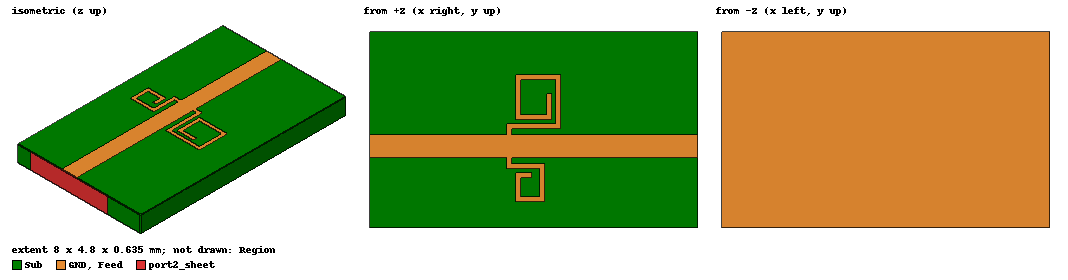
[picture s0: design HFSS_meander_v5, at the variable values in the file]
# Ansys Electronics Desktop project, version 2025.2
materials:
  vacuum: permittivity=1
  RO3010_like: permittivity=10.2 dielectric_loss_tangent=0.0022
  copper: permeability=0.999991 conductivity=58000000

design HFSS_meander_v5 (HFSS, HFSS Hybrid Modal Network, model units mm)
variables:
  Cvar1 = 0.92pF
  Cvar2 = 0.46pF
  Cp1 = 0.18pF
  Cp2 = 0.05pF
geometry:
  Sub [RO3010_like] = box(corner=(-4mm, -2mm, 0mm), size=(8mm, 4.8mm, 0.635mm))
  GND = rectangle(corner=(-4mm, -2mm, 0mm), x_size=8mm, y_size=4.8mm)
  Feed = rectangle(corner=(-4mm, -0.29mm, 0.635mm), x_size=8mm, y_size=0.58mm)
  S1_s0 = rectangle(corner=(-0.66mm, -0.06mm, 0.635mm), x_size=0.12mm, y_size=0.61mm)
  S1_s1 = rectangle(corner=(-0.66mm, 0.43mm, 0.635mm), x_size=1.32mm, y_size=0.12mm)
  S1_s2 = rectangle(corner=(0.54mm, 0.43mm, 0.635mm), x_size=0.12mm, y_size=1.32mm)
  S1_s3 = rectangle(corner=(-0.44mm, 1.63mm, 0.635mm), x_size=1.1mm, y_size=0.12mm)
  S1_s4 = rectangle(corner=(-0.44mm, 0.65mm, 0.635mm), x_size=0.12mm, y_size=1.1mm)
  S1_s5 = rectangle(corner=(-0.44mm, 0.65mm, 0.635mm), x_size=0.88mm, y_size=0.12mm)
  S1_s6 = rectangle(corner=(0.32mm, 0.65mm, 0.635mm), x_size=0.12mm, y_size=0.64mm)
  S2_s0 = rectangle(corner=(-0.66mm, -0.55mm, 0.635mm), x_size=0.12mm, y_size=0.61mm)
  S2_s1 = rectangle(corner=(-0.66mm, -0.55mm, 0.635mm), x_size=0.92mm, y_size=0.12mm)
  S2_s2 = rectangle(corner=(0.14mm, -1.35mm, 0.635mm), x_size=0.12mm, y_size=0.92mm)
  S2_s3 = rectangle(corner=(-0.44mm, -1.35mm, 0.635mm), x_size=0.7mm, y_size=0.12mm)
  S2_s4 = rectangle(corner=(-0.44mm, -1.35mm, 0.635mm), x_size=0.12mm, y_size=0.7mm)
  S2_s5 = rectangle(corner=(-0.44mm, -0.77mm, 0.635mm), x_size=0.39mm, y_size=0.12mm)
  Feed.unite(S1_s0..S1_s6, S2_s0..S2_s5)
  S1_capsheet = rectangle(corner=(0.32mm, 1.29mm, 0mm), z_size=0.635mm, x_size=0.12mm)
  S2_capsheet = rectangle(corner=(-0.05mm, -0.77mm, 0mm), y_size=0.12mm, z_size=0.635mm)
  port1_sheet = rectangle(corner=(-4mm, -1.5mm, 0mm), y_size=3mm, z_size=0.635mm)
  port2_sheet = rectangle(corner=(4mm, -1.5mm, 0mm), y_size=3mm, z_size=0.635mm)
  Region [vacuum] = region(absolute_offset=3mm on all sides)
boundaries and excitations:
  PerfE_GND: Perfect E Objects=GND
  Cu_top: Finite Conductivity Objects=Feed UseMaterial Material=copper Thickness=0.035mm IsInternal
  Varactor_D1: Lumped RLC Objects=S1_capsheet CurrentLine{(0.38, 1.29, 0) -> (0.38, 1.29, 0.635)} RLC_Type=Parallel Capacitance=Cvar1+Cp1
  Varactor_D2: Lumped RLC Objects=S2_capsheet CurrentLine{(-0.05, -0.71, 0) -> (-0.05, -0.71, 0.635)} RLC_Type=Parallel Capacitance=Cvar2+Cp2
  Rad1: Radiation Objects=Region
  port1: Lumped Port Objects=port1_sheet LumpedPortType=Modal Modes{Mode1{IntLine{(-4, 0, 0) -> (-4, 0, 0.635)} CharImp=Zpi}} Impedance=50ohm
  port2: Lumped Port Objects=port2_sheet LumpedPortType=Modal Modes{Mode1{IntLine{(4, 0, 0) -> (4, 0, 0.635)} CharImp=Zpi}} Impedance=50ohm
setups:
  Setup1: HfssDriven Frequency=5GHz MaxDeltaS=0.03 MaximumPasses=8 MinimumPasses=1 MinimumConvergedPasses=1 PercentRefinement=30 BasisOrder=1 PortAccuracy=2 DrivenSolverType="Direct Solver"
    sweep Sweep: 1GHz to 8GHz, 281 points; Type=Interpolating InterpTolerance=0.5 InterpMaxSolns=250 PassivityErrorTolerance=0.0001
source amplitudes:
  port1:1: 1W 0deg
  port2:1: 0W 0deg
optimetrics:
  Sweep_Cvar1: Parametric Sim._Setups=[Setup1]
    sweep Cvar1: LIN 0.72pF 1.12pF 0.1pF
  Sweep_Cvar2: Parametric Sim._Setups=[Setup1]
    sweep Cvar2: LIN 0.36pF 0.56pF 0.05pF
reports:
  S11 and S21 (nominal): dB(S(port1,port1)), dB(S(port2,port1)) vs Freq on Setup1 : Sweep [Cvar1=0.92pF Cvar2=0.46pF]
  S21 vs Cvar1 (2.4 GHz notch): dB(S(port2,port1)) vs Freq on Setup1 : Sweep [Cvar1=all Cvar2=0.46pF]
  S21 vs Cvar2 (5 GHz notch): dB(S(port2,port1)) vs Freq on Setup1 : Sweep [Cvar1=0.92pF Cvar2=all]
